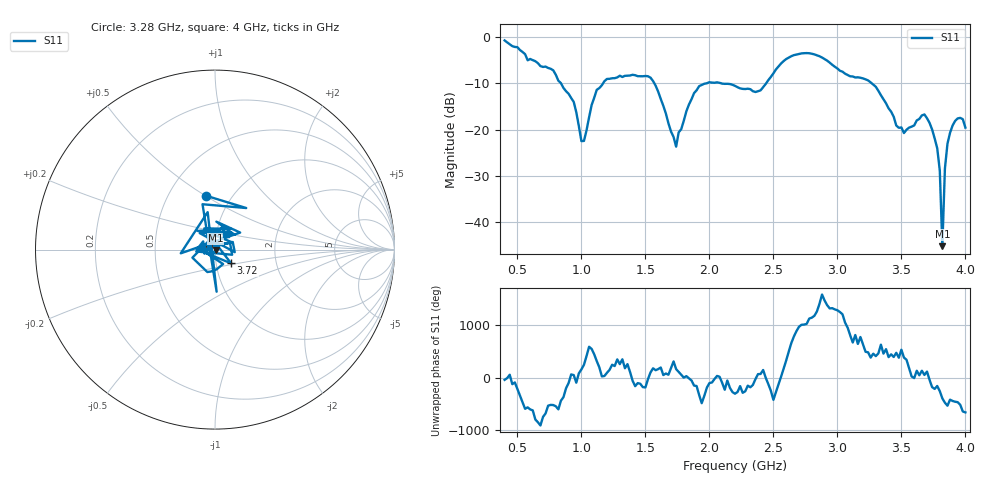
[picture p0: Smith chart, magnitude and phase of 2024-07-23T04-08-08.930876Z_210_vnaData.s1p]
!Created with skrf (http://scikit-rf.org).
# Hz S RI R 50.0
!freq ReS11 ImS11
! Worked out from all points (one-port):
!   181 points, 400 MHz to 4 GHz, reference 50 ohm
!   lowest |S11| = -45.1 dB at 3.82 GHz (marker M1), VSWR 1.01, Z = 50.4 - j0.333 ohm
!   |S11| at or under -10 dB: 1.569 GHz to 1.981 GHz (411.6 MHz wide, 23.2 % of centre); 2.09 GHz to 2.444 GHz (354.1 MHz wide, 15.6 % of centre); 3.267 GHz to end of sweep (the widest 3 of 4)
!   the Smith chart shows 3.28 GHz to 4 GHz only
!   S11 on the Smith chart (normalised r, x): 3.28 GHz: 0.76, +0.50; 3.72 GHz: 1.18, -0.18; 4 GHz: 1.11, +0.19
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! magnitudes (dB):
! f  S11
! 400 MHz  -0.8
! 780 MHz  -7.2
! 860 MHz  -11.0
! 940 MHz  -14.0
! 1 GHz  -22.5
! 1.02 GHz  -22.4
! 1.12 GHz  -11.4
! 1.3 GHz  -8.4
! 1.54 GHz  -8.8
! 1.74 GHz  -23.7
! 1.76 GHz  -20.6
! 1.92 GHz  -10.6
! 2.2 GHz  -10.6
! 2.4 GHz  -11.5
! 2.66 GHz  -3.9
! 3.1 GHz  -8.5
! 3.28 GHz  -10.3
! 3.46 GHz  -19.1
! 3.56 GHz  -19.6
! 3.68 GHz  -16.7
! 3.72 GHz  -18.6
! 3.78 GHz  -24.0
! 3.8 GHz  -28.8
! 3.82 GHz  -45.1
! 3.84 GHz  -28.4
! 3.86 GHz  -23.0
! 3.94 GHz  -17.6
! 4 GHz  -19.6
